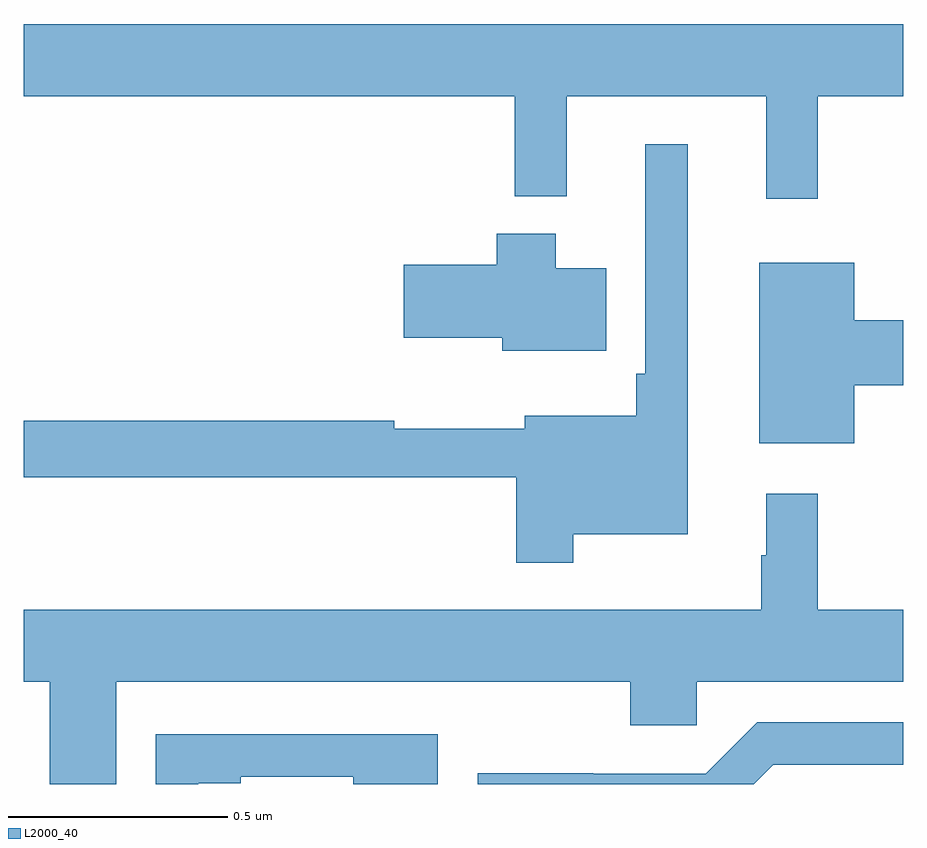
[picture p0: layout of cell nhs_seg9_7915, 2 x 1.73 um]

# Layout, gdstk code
import gdstk
lib = gdstk.Library(unit=1e-6, precision=1e-09)
def P(c, l, *ps):  # polygons
    for p in ps: c.add(gdstk.Polygon(p, *l))
L2000_40 = (2000, 40)

nhs_seg9_7915 = lib.new_cell('nhs_seg9_7915')
P(nhs_seg9_7915, L2000_40, [(211.805,1219.064),(212,1219.064),(212,1219.228),(210,1219.228),(210,1219.064),(211.117,1219.064),(211.117,1218.836),(211.235,1218.836),(211.235,1219.064),(211.688,1219.064),(211.688,1218.831),(211.805,1218.831)],
  [(211.249,1218.068),(211.51,1218.068),(211.51,1218.955),(211.413,1218.955),(211.413,1218.433),(211.393,1218.433),(211.393,1218.337),(211.139,1218.337),(211.139,1218.308),(210.843,1218.308),(210.843,1218.326),(210,1218.326),(210,1218.198),(211.12,1218.198),(211.12,1218.003),(211.249,1218.003)],
  [(211.324,1218.673),(211.21,1218.673),(211.21,1218.751),(211.076,1218.751),(211.076,1218.681),(210.864,1218.681),(210.864,1218.515),(211.088,1218.515),(211.088,1218.485),(211.324,1218.485)],
  [(211.888,1218.407),(212,1218.407),(212,1218.554),(211.888,1218.554),(211.888,1218.685),(211.673,1218.685),(211.673,1218.275),(211.888,1218.275)],
  [(210.211,1217.732),(211.379,1217.732),(211.379,1217.634),(211.53,1217.634),(211.53,1217.732),(212,1217.732),(212,1217.896),(211.805,1217.896),(211.805,1218.16),(211.688,1218.16),(211.688,1218.02),(211.677,1218.02),(211.677,1217.896),(210,1217.896),(210,1217.732),(210.059,1217.732),(210.059,1217.5),(210.211,1217.5)],
  [(211.704,1217.544),(212,1217.544),(212,1217.64),(211.668,1217.64),(211.551,1217.523),(211.295,1217.523),(211.295,1217.525),(211.032,1217.525),(211.032,1217.5),(211.66,1217.5)],
  [(210.397,1217.502),(210.493,1217.502),(210.493,1217.517),(210.749,1217.517),(210.749,1217.5),(210.942,1217.5),(210.942,1217.613),(210.3,1217.613),(210.3,1217.5),(210.397,1217.5)])

lib.write_gds('nhs_seg9_7915.gds')
